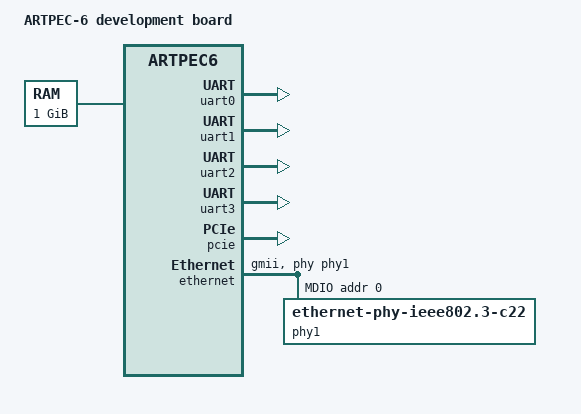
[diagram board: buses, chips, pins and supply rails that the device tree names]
// SPDX-License-Identifier: GPL-2.0-only
// Axis ARTPEC-6 development board.

/dts-v1/;
#include "artpec6.dtsi"

/ {
	model = "ARTPEC-6 development board";
	compatible = "axis,artpec6-dev-board", "axis,artpec6";

	aliases {
		serial0 = &uart0;
		serial1 = &uart1;
		serial2 = &uart2;
		serial3 = &uart3;
	};

	chosen {
		stdout-path = "serial3:115200n8";
	};

	memory {
		device_type = "memory";
		reg = <0x0 0x40000000>;
	};
};

&uart0 {
	status = "okay";
};

&uart1 {
	status = "okay";
};

&uart2 {
	status = "okay";
};

&uart3 {
	status = "okay";
};

&pcie {
	status = "okay";
};

&ethernet {
	phy-handle = <&phy1>;
	phy-mode = "gmii";

	status = "okay";

	mdio {
		compatible = "snps,dwmac-mdio";
		#address-cells = <0x1>;
		#size-cells = <0x0>;
		phy1: phy@0 {
			device_type = "ethernet-phy";
			compatible = "ethernet-phy-ieee802.3-c22";
			reg = <0x0>;
		};
	};
};
